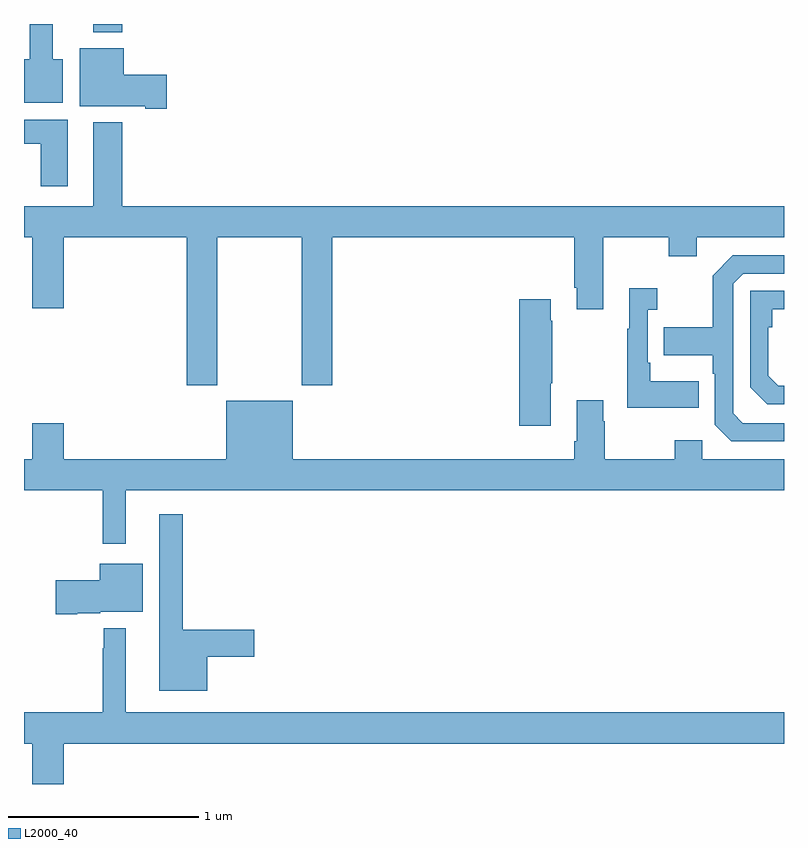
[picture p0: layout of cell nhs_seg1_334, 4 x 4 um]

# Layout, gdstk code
import gdstk
lib = gdstk.Library(unit=1e-6, precision=1e-09)
def R(c, l, rs):  # rectangles x0, y0, x1, y1
    for r in rs: c.add(gdstk.rectangle(r[:2], r[2:], *l))
def P(c, l, *ps):  # polygons
    for p in ps: c.add(gdstk.Polygon(p, *l))
L2000_40 = (2000, 40)

nhs_seg1_334 = lib.new_cell('nhs_seg1_334')
R(nhs_seg1_334, L2000_40, [(129.365,542.156,129.518,542.199)])
P(nhs_seg1_334, L2000_40, [(129.205,542.014),(129.151,542.014),(129.151,542.197),(129.029,542.197),(129.029,542.014),(129,542.014),(129,541.784),(129.205,541.784)],
  [(129.751,541.932),(129.526,541.932),(129.526,542.071),(129.293,542.071),(129.293,541.766),(129.638,541.766),(129.638,541.754),(129.751,541.754)],
  [(129.229,541.696),(129,541.696),(129,541.568),(129.089,541.568),(129.089,541.344),(129.229,541.344)],
  [(130.017,541.076),(130.462,541.076),(130.462,540.297),(130.622,540.297),(130.622,541.076),(131.897,541.076),(131.897,540.811),(131.909,540.811),(131.909,540.699),(132.049,540.699),(132.049,541.076),(132.394,541.076),(132.394,540.977),(132.541,540.977),(132.541,541.076),(133,541.076),(133,541.24),(129.518,541.24),(129.518,541.681),(129.365,541.681),(129.365,541.24),(129,541.24),(129,541.076),(129.044,541.076),(129.044,540.702),(129.208,540.702),(129.208,541.076),(129.857,541.076),(129.857,540.297),(130.017,540.297)],
  [(133,540.099),(132.783,540.099),(132.732,540.15),(132.732,540.831),(132.786,540.885),(133,540.885),(133,540.981),(132.729,540.981),(132.624,540.875),(132.624,540.603),(132.367,540.603),(132.367,540.455),(132.624,540.455),(132.624,540.359),(132.636,540.359),(132.636,540.09),(132.723,540.003),(133,540.003)],
  [(132.551,540.319),(132.295,540.319),(132.295,540.415),(132.282,540.415),(132.282,540.695),(132.334,540.695),(132.334,540.808),(132.185,540.808),(132.185,540.595),(132.174,540.595),(132.174,540.179),(132.551,540.179)],
  [(133,540.295),(132.971,540.295),(132.918,540.348),(132.918,540.602),(132.938,540.602),(132.938,540.699),(133,540.699),(133,540.795),(132.822,540.795),(132.822,540.288),(132.912,540.198),(133,540.198)],
  [(131.773,540.307),(131.781,540.307),(131.781,540.638),(131.773,540.638),(131.773,540.751),(131.606,540.751),(131.606,540.084),(131.773,540.084)],
  [(129.535,539.744),(133,539.744),(133,539.908),(132.57,539.908),(132.57,540.007),(132.424,540.007),(132.424,539.908),(132.057,539.908),(132.057,540.107),(132.049,540.107),(132.049,540.22),(131.909,540.22),(131.909,540.004),(131.897,540.004),(131.897,539.908),(130.414,539.908),(130.414,540.217),(130.064,540.217),(130.064,539.908),(129.208,539.908),(129.208,540.097),(129.044,540.097),(129.044,539.908),(129,539.908),(129,539.744),(129.414,539.744),(129.414,539.463),(129.535,539.463)],
  [(129.964,538.87),(130.213,538.87),(130.213,539.012),(129.835,539.012),(129.835,539.62),(129.713,539.62),(129.713,538.691),(129.964,538.691)],
  [(129.28,539.099),(129.402,539.099),(129.402,539.105),(129.625,539.105),(129.625,539.359),(129.398,539.359),(129.398,539.271),(129.168,539.271),(129.168,539.093),(129.28,539.093)],
  [(129.208,538.412),(133,538.412),(133,538.576),(129.535,538.576),(129.535,539.02),(129.421,539.02),(129.421,538.913),(129.414,538.913),(129.414,538.576),(129,538.576),(129,538.412),(129.044,538.412),(129.044,538.199),(129.208,538.199)])

lib.write_gds('nhs_seg1_334.gds')
